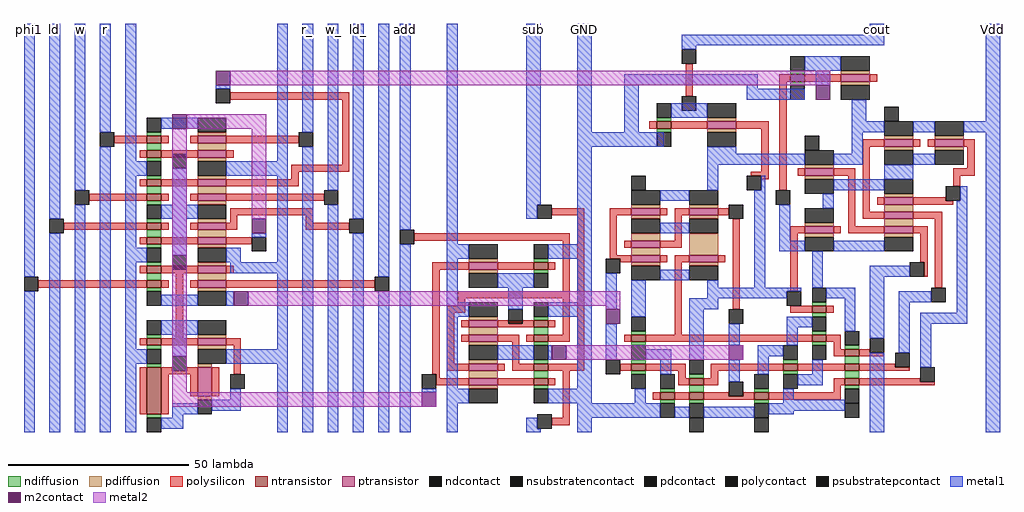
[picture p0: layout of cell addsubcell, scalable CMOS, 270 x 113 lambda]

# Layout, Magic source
magic
tech scmos
<< polysilicon >>
rect -47 92 -14 94
rect -16 74 -14 92
rect -30 72 -14 74
rect -30 70 -28 72
rect -44 68 -28 70
<< metal1 >>
rect -104 88 -101 113
rect -97 88 -94 113
rect -90 88 -87 113
rect -83 88 -80 113
rect -76 88 -73 113
rect -51 95 -47 96
rect -34 88 -31 113
rect -27 88 -24 113
rect -20 88 -17 113
rect -13 88 -10 113
rect -6 88 -3 113
rect 49 110 53 113
rect 130 110 134 113
rect 162 110 166 113
rect -48 35 -46 39
<< metal2 >>
rect -47 96 119 100
rect -63 11 -59 84
rect -42 35 61 39
rect 57 34 61 35
rect -63 7 10 11
<< polycontact >>
rect -51 91 -47 95
<< m2contact >>
rect -51 96 -47 100
rect -46 35 -42 39
use accumbit  accumbit_0
transform 1 0 -69 0 1 69
box -35 -69 66 19
use addsubbit  addsubbit_0
transform 1 0 49 0 1 0
box -49 0 117 113
<< labels >>
rlabel metal1 -104 110 -101 113 4 phi1
rlabel metal1 -97 110 -94 113 5 ld
rlabel metal1 -90 110 -87 113 5 w
rlabel metal1 -83 110 -80 113 5 r
rlabel metal1 -27 110 -24 113 5 r_
rlabel metal1 -20 110 -17 113 5 w_
rlabel metal1 -13 110 -10 113 5 ld_
rlabel metal1 -6 110 -3 113 5 phi1_
rlabel space 0 110 3 113 5 add
rlabel space 35 110 39 113 5 sub
rlabel metal1 130 110 134 113 5 cout
rlabel metal1 162 110 166 113 6 Vdd
rlabel metal1 49 110 53 113 5 GND
<< end >>

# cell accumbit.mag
magic
tech scmos
<< polysilicon >>
rect -10 11 -3 13
rect 23 11 41 13
rect 23 -1 25 1
rect -17 -5 -3 -3
rect 23 -5 48 -3
rect 22 -9 45 -7
rect -24 -13 -3 -11
rect 22 -13 24 -9
rect 43 -11 45 -9
rect 43 -13 55 -11
rect 23 -17 28 -15
rect -31 -29 -3 -27
rect 7 -43 9 -24
rect 23 -29 62 -27
<< metal1 >>
rect -35 -26 -32 19
rect -28 -10 -25 19
rect -21 -2 -18 19
rect -14 14 -11 19
rect -35 -69 -32 -30
rect -28 -69 -25 -14
rect -21 -69 -18 -6
rect -14 -69 -11 10
rect -7 6 -4 19
rect -7 2 -1 6
rect 35 6 38 19
rect 42 14 45 19
rect -7 -18 -4 2
rect -7 -22 -1 -18
rect 6 -20 10 4
rect 21 2 38 6
rect 28 -15 32 -14
rect -7 -46 -4 -22
rect 21 -22 25 -18
rect 35 -22 38 2
rect 22 -25 38 -22
rect 6 -34 10 -31
rect 35 -46 38 -25
rect -7 -50 -1 -46
rect 27 -50 38 -46
rect -7 -69 -4 -50
rect 35 -69 38 -50
rect 42 -69 45 10
rect 49 -2 52 19
rect 49 -69 52 -6
rect 56 -10 59 19
rect 56 -69 59 -14
rect 63 -26 66 19
rect 63 -69 66 -30
<< metal2 >>
rect 10 15 32 19
rect 28 -10 32 15
<< polycontact >>
rect -14 10 -10 14
rect 41 10 45 14
rect 6 4 10 8
rect -21 -6 -17 -2
rect 48 -6 52 -2
rect -28 -14 -24 -10
rect 55 -14 59 -10
rect 28 -19 32 -15
rect 6 -24 10 -20
rect -35 -30 -31 -26
rect 62 -30 66 -26
<< m2contact >>
rect 6 15 10 19
rect 28 -14 32 -10
use latch  latch_0
transform 0 1 -1 1 0 8
box -6 -2 10 24
use latch  latch_1
transform 0 1 -1 -1 0 0
box -6 -2 10 24
use latch  latch_3
transform 0 1 -1 1 0 -16
box -6 -2 10 24
use latch  latch_2
transform 0 1 -1 -1 0 -24
box -6 -2 10 24
use staticizer  staticizer_0
transform 0 1 -5 1 0 -50
box -19 2 12 32
<< labels >>
rlabel metal1 35 16 38 19 6 Vdd
rlabel metal1 6 -34 10 -31 1 out
rlabel metal1 -7 16 -4 19 4 GND
rlabel m2contact 6 15 10 19 5 bus
rlabel metal1 -14 16 -11 19 5 r
rlabel metal1 42 16 45 19 5 r_
rlabel polysilicon 24 0 24 0 1 in
rlabel metal1 -21 16 -18 19 5 w
rlabel metal1 49 16 52 19 5 w_
rlabel metal1 56 16 59 19 5 ld_
rlabel metal1 -28 16 -25 19 5 ld
rlabel metal1 -35 16 -32 19 4 phi1
rlabel metal1 63 16 66 19 6 phi1_
<< end >>

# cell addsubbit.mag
magic
tech scmos
<< polysilicon >>
rect -7 60 2 62
rect -45 53 -2 55
rect -40 45 -32 47
rect -40 16 -38 45
rect -4 39 -2 53
rect 0 19 2 60
rect -6 17 2 19
rect -39 15 -38 16
rect -39 13 -32 15
rect -4 4 -2 17
rect -7 2 -2 4
<< metal1 >>
rect -49 56 -46 113
rect -36 52 -33 113
rect -14 63 -10 113
rect -14 59 -11 63
rect -49 0 -46 52
rect -36 48 -30 52
rect -8 48 1 52
rect -36 36 -33 48
rect -36 32 -30 36
rect -19 34 -15 40
rect -43 11 -39 12
rect -36 12 -33 32
rect -8 32 4 36
rect -8 20 -7 24
rect -36 8 -30 12
rect -8 8 4 12
rect -36 0 -33 8
rect -14 1 -11 4
rect -14 0 -10 1
<< metal2 >>
rect -3 20 46 24
<< polycontact >>
rect -11 59 -7 63
rect -49 52 -45 56
rect -19 30 -15 34
rect -43 12 -39 16
rect -11 1 -7 5
<< m2contact >>
rect -43 7 -39 11
rect -7 20 -3 24
use inverter  inverter_0
transform 0 -1 -1 -1 0 47
box -5 5 7 31
use xor  xor_0
transform -1 0 -8 0 1 8
box -6 0 28 31
use adderbit  adderbit_0
transform 1 0 15 0 1 4
box -15 -4 102 109
<< labels >>
rlabel m2contact -43 7 -39 11 3 bus
rlabel metal1 -14 0 -10 4 1 sub
rlabel metal1 -49 0 -46 3 2 add
<< end >>

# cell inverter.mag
magic
tech scmos
<< polysilicon >>
rect 0 29 2 31
rect 0 11 2 21
rect 0 5 2 7
<< ndiffusion >>
rect -1 7 0 11
rect 2 7 3 11
<< pdiffusion >>
rect -1 21 0 29
rect 2 21 3 29
<< metal1 >>
rect 3 11 7 21
<< ntransistor >>
rect 0 7 2 11
<< ptransistor >>
rect 0 21 2 29
<< ndcontact >>
rect -5 7 -1 11
rect 3 7 7 11
<< pdcontact >>
rect -5 21 -1 29
rect 3 21 7 29
<< labels >>
rlabel metal1 5 16 5 16 7 out
<< end >>

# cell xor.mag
magic
tech scmos
<< polysilicon >>
rect -6 29 25 31
rect -6 19 -4 29
rect 23 27 25 29
rect 23 25 28 27
rect -2 21 0 23
rect 4 21 14 23
rect 22 21 24 23
rect -6 17 0 19
rect 4 17 6 19
rect 8 17 14 19
rect 22 17 24 19
rect 8 11 10 17
rect 26 11 28 25
rect -2 9 0 11
rect 4 9 10 11
rect 12 9 14 11
rect 22 9 28 11
rect -2 5 0 7
rect 4 5 14 7
rect 22 5 24 7
<< ndiffusion >>
rect 0 23 4 24
rect 0 19 4 21
rect 0 16 4 17
rect 0 11 4 12
rect 0 7 4 9
rect 0 4 4 5
<< pdiffusion >>
rect 14 23 22 24
rect 14 19 22 21
rect 14 16 22 17
rect 14 11 22 12
rect 14 7 22 9
rect 14 4 22 5
<< metal1 >>
rect 4 12 14 16
<< ntransistor >>
rect 0 21 4 23
rect 0 17 4 19
rect 0 9 4 11
rect 0 5 4 7
<< ptransistor >>
rect 14 21 22 23
rect 14 17 22 19
rect 14 9 22 11
rect 14 5 22 7
<< ndcontact >>
rect 0 24 4 28
rect 0 12 4 16
rect 0 0 4 4
<< pdcontact >>
rect 14 24 22 28
rect 14 12 22 16
rect 14 0 22 4
<< labels >>
rlabel polysilicon -1 22 -1 22 3 a
rlabel polysilicon -1 10 -1 10 3 b
rlabel polysilicon -1 6 -1 6 3 a_
rlabel polysilicon -1 18 -1 18 3 b_
rlabel metal1 9 14 9 14 1 out
<< end >>

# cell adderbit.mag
magic
tech scmos
<< polysilicon >>
rect 15 89 17 98
rect 31 80 38 82
rect 36 68 38 80
rect 33 67 38 68
rect 36 66 38 67
rect 41 63 43 95
rect 64 75 70 77
rect 78 75 80 77
rect 82 75 84 77
rect 92 75 95 77
rect 46 67 48 69
rect 56 67 62 69
rect -6 56 0 58
rect 8 56 10 58
rect 12 56 16 58
rect 24 56 27 58
rect -6 45 -4 56
rect 12 49 14 56
rect -2 47 0 49
rect 8 47 14 49
rect -6 44 0 45
rect -3 43 0 44
rect 8 43 10 45
rect 12 43 16 45
rect 24 43 26 45
rect 12 23 14 43
rect 28 30 30 55
rect 60 53 62 67
rect 64 57 66 75
rect 93 69 95 75
rect 89 67 95 69
rect 89 64 91 67
rect 68 59 70 61
rect 78 60 87 61
rect 78 59 89 60
rect 64 55 70 57
rect 78 55 86 57
rect 44 51 48 53
rect 56 51 58 53
rect 60 51 70 53
rect 78 51 82 53
rect 44 35 46 51
rect 80 43 82 51
rect 81 39 82 43
rect 84 36 86 55
rect 44 29 50 31
rect 54 29 56 31
rect -2 21 0 23
rect 4 21 50 23
rect 54 21 58 23
rect 56 19 58 21
rect 56 17 59 19
rect 63 18 66 19
rect 63 17 70 18
rect -3 13 0 15
rect 4 13 15 15
rect 13 11 15 13
rect 22 13 42 15
rect 46 13 59 15
rect 63 14 73 15
rect 63 13 77 14
rect 22 11 24 13
rect 13 9 16 11
rect 20 9 24 11
rect 6 5 8 7
rect 12 5 16 7
rect 20 6 27 7
rect 56 9 59 11
rect 63 10 80 11
rect 63 9 84 10
rect 56 7 58 9
rect 31 6 34 7
rect 20 5 34 6
rect 38 5 58 7
<< ndiffusion >>
rect 0 23 4 24
rect 50 31 54 32
rect 50 28 54 29
rect 50 23 54 24
rect 0 20 4 21
rect 50 20 54 21
rect 59 19 63 20
rect 0 15 4 16
rect 0 12 4 13
rect 42 15 46 16
rect 59 15 63 17
rect 16 11 20 12
rect 42 12 46 13
rect 8 7 12 8
rect 16 7 20 9
rect 59 11 63 13
rect 34 7 38 8
rect 59 8 63 9
rect 8 4 12 5
rect 16 4 20 5
rect 34 4 38 5
<< pdiffusion >>
rect 70 77 78 78
rect 84 77 92 78
rect 48 69 56 70
rect 48 66 56 67
rect 0 58 8 59
rect 16 58 24 59
rect 0 55 8 56
rect 0 49 8 51
rect 16 55 24 56
rect 0 45 8 47
rect 16 45 24 51
rect 0 42 8 43
rect 16 42 24 43
rect 48 53 56 54
rect 70 74 78 75
rect 84 74 92 75
rect 70 61 78 62
rect 70 57 78 59
rect 70 53 78 55
rect 48 50 56 51
rect 70 50 78 51
<< metal1 >>
rect -15 79 -11 109
rect 66 106 70 109
rect 14 103 70 106
rect 14 102 18 103
rect -2 92 35 95
rect -2 79 2 92
rect 32 91 35 92
rect 51 92 55 96
rect 32 88 48 91
rect 61 82 65 88
rect 98 82 102 109
rect 61 79 70 82
rect -15 75 9 79
rect -15 4 -11 75
rect 21 73 29 75
rect 21 70 48 73
rect 61 73 64 79
rect 78 79 84 82
rect 92 79 102 82
rect 56 70 64 73
rect 78 70 84 73
rect 21 63 24 70
rect 36 63 37 67
rect 70 66 78 70
rect 8 60 16 63
rect 8 51 16 54
rect -7 30 -4 40
rect 8 38 16 41
rect 0 28 4 38
rect 21 36 24 38
rect 34 36 37 63
rect 56 63 70 66
rect 41 49 44 59
rect 53 58 56 62
rect 91 60 93 64
rect 41 46 48 49
rect 56 46 70 49
rect 50 36 53 46
rect 66 39 77 42
rect 21 35 47 36
rect 21 33 43 35
rect -7 16 -4 26
rect 16 30 24 33
rect 54 33 62 36
rect 4 16 11 19
rect 8 12 11 16
rect 16 16 20 30
rect 27 20 30 26
rect 43 25 50 28
rect 43 20 46 25
rect 59 24 62 33
rect 66 22 70 39
rect 35 17 42 20
rect 27 10 30 16
rect 35 12 38 17
rect 74 32 83 35
rect 74 18 77 32
rect 90 29 93 60
rect 50 12 53 16
rect 1 4 4 8
rect 46 9 53 12
rect 42 5 45 8
rect 42 4 59 5
rect -15 0 8 4
rect 12 0 16 3
rect 20 0 34 3
rect 38 2 59 4
rect 38 1 45 2
rect -15 -4 -11 0
rect 66 -4 70 18
rect 80 26 93 29
rect 80 14 83 26
rect 98 -4 102 79
<< ntransistor >>
rect 50 29 54 31
rect 0 21 4 23
rect 50 21 54 23
rect 59 17 63 19
rect 0 13 4 15
rect 42 13 46 15
rect 59 13 63 15
rect 16 9 20 11
rect 8 5 12 7
rect 16 5 20 7
rect 59 9 63 11
rect 34 5 38 7
<< ptransistor >>
rect 70 75 78 77
rect 84 75 92 77
rect 48 67 56 69
rect 0 56 8 58
rect 16 56 24 58
rect 0 47 8 49
rect 0 43 8 45
rect 16 43 24 45
rect 70 59 78 61
rect 70 55 78 57
rect 48 51 56 53
rect 70 51 78 53
<< polycontact >>
rect 14 98 18 102
rect 14 85 18 89
rect 32 63 36 67
rect 40 59 44 63
rect 27 55 31 59
rect -7 40 -3 44
rect 87 60 91 64
rect 77 39 81 43
rect 43 31 47 35
rect 83 32 87 36
rect 27 26 31 30
rect 66 18 70 22
rect -7 12 -3 16
rect 73 14 77 18
rect 27 6 31 10
rect 80 10 84 14
<< ndcontact >>
rect 0 24 4 28
rect 50 32 54 36
rect 50 24 54 28
rect 0 16 4 20
rect 42 16 46 20
rect 50 16 54 20
rect 59 20 63 24
rect 0 8 4 12
rect 8 8 12 12
rect 16 12 20 16
rect 34 8 38 12
rect 42 8 46 12
rect 8 0 12 4
rect 16 0 20 4
rect 34 0 38 4
rect 59 4 63 8
<< pdcontact >>
rect 70 78 78 82
rect 84 78 92 82
rect 48 70 56 74
rect 0 59 8 63
rect 16 59 24 63
rect 48 62 56 66
rect 0 51 8 55
rect 16 51 24 55
rect 0 38 8 42
rect 16 38 24 42
rect 48 54 56 58
rect 70 70 78 74
rect 84 70 92 74
rect 70 62 78 66
rect 48 46 56 50
rect 70 46 78 50
<< m2contact >>
rect 51 88 55 92
rect -7 26 -3 30
rect 27 16 31 20
<< psubstratepcontact >>
rect 16 -4 20 0
rect 59 0 63 4
rect 34 -4 38 0
<< nsubstratencontact >>
rect 0 63 4 67
rect 70 82 74 86
rect 48 74 52 78
use inverter  inverter_1
transform 0 1 37 1 0 93
box -5 5 7 31
use inverter  inverter_0
transform 0 1 0 1 0 80
box -5 5 7 31
<< labels >>
rlabel metal1 -15 -4 -11 0 2 GND
rlabel m2contact 51 88 55 92 1 S
rlabel metal1 98 -4 102 0 8 Vdd
rlabel m2contact -7 26 -3 30 1 A
rlabel m2contact 27 16 31 20 1 B
rlabel metal1 66 -4 70 0 1 Cin
rlabel metal1 66 105 70 109 5 Cout
<< end >>

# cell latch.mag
magic
tech scmos
<< polysilicon >>
rect -1 22 1 24
rect 3 22 5 24
rect -1 4 1 14
rect 3 12 5 14
rect 3 4 5 6
rect -1 -2 1 0
rect 3 -2 5 0
<< ndiffusion >>
rect -2 0 -1 4
rect 1 0 3 4
rect 5 0 6 4
<< pdiffusion >>
rect -2 14 -1 22
rect 1 14 3 22
rect 5 14 6 22
<< metal1 >>
rect 7 4 10 14
<< ntransistor >>
rect -1 0 1 4
rect 3 0 5 4
<< ptransistor >>
rect -1 14 1 22
rect 3 14 5 22
<< ndcontact >>
rect -6 0 -2 4
rect 6 0 10 4
<< pdcontact >>
rect -6 14 -2 22
rect 6 14 10 22
<< labels >>
rlabel polysilicon 3 22 5 24 5 latch_
rlabel polysilicon 3 -2 5 0 1 latch
rlabel pdcontact -6 14 -2 22 3 Vdd
rlabel ndcontact -6 0 -2 4 2 GND
rlabel polysilicon -1 8 1 10 1 in
rlabel metal1 7 8 10 10 7 out
<< end >>

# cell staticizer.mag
magic
tech scmos
<< polysilicon >>
rect -3 28 7 30
rect -9 22 -1 24
rect -9 16 -1 18
rect -3 15 -1 16
rect -3 11 -2 15
rect -3 10 -1 11
rect -14 8 -1 10
rect -14 2 -1 4
<< ndiffusion >>
rect -15 4 -14 8
rect -1 4 0 8
<< pdiffusion >>
rect -10 18 -9 22
rect -1 18 0 22
<< metal1 >>
rect -13 27 -7 30
rect -13 22 -10 27
rect 0 26 4 32
rect -14 14 -11 18
rect -18 11 -11 14
rect 2 11 12 15
rect -18 8 -15 11
<< ntransistor >>
rect -14 4 -1 8
<< ptransistor >>
rect -9 18 -1 22
<< polycontact >>
rect -7 27 -3 31
rect -2 11 2 15
<< ndcontact >>
rect -19 4 -15 8
rect 0 4 4 8
<< pdcontact >>
rect -14 18 -10 22
rect 0 18 4 26
use inverter  inverter_0
transform 1 0 5 0 1 -3
box -5 5 7 31
<< labels >>
rlabel metal1 0 28 4 32 5 Vdd
rlabel ndcontact 0 4 4 8 1 GND
rlabel polycontact -7 27 -3 31 5 in
<< end >>
